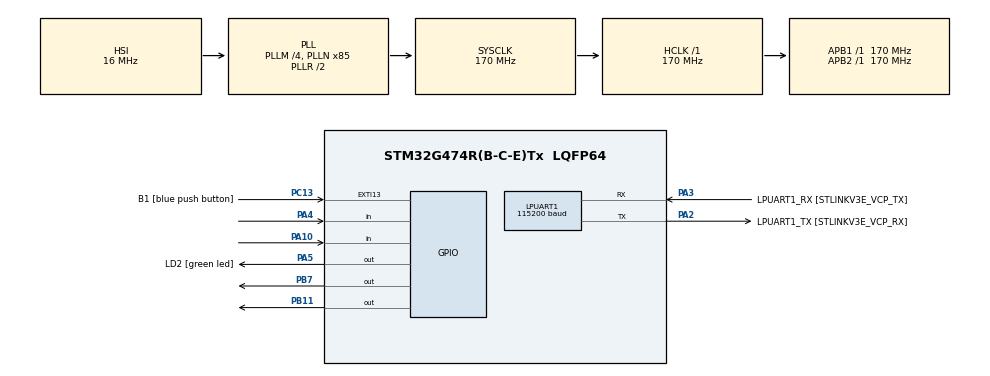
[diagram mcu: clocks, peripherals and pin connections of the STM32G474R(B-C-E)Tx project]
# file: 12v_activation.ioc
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LPUART1.BaudRate=115200
Mcu.Family=STM32G4
Mcu.Name=STM32G474R(B-C-E)Tx
Mcu.Package=LQFP64
NVIC.EXTI15_10_IRQn=true\:0\:0\:false\:false\:true\:true\:true\:true
NVIC.PriorityGroup=NVIC_PRIORITYGROUP_4
PA10.GPIO_PuPd=GPIO_PULLUP
PA10.Signal=GPIO_Input
PA13.GPIO_Label=T_SWDIO
PA13.Signal=SYS_JTMS-SWDIO
PA14.GPIO_Label=T_SWCLK
PA14.Signal=SYS_JTCK-SWCLK
PA2.GPIO_Label=LPUART1_TX [STLINKV3E_VCP_RX]
PA2.Mode=Asynchronous
PA2.Signal=LPUART1_TX
PA3.GPIO_Label=LPUART1_RX [STLINKV3E_VCP_TX]
PA3.Mode=Asynchronous
PA3.Signal=LPUART1_RX
PA4.GPIO_PuPd=GPIO_PULLDOWN
PA4.Signal=GPIO_Input
PA5.GPIO_Label=LD2 [green led]
PA5.Signal=GPIO_Output
PB11.Signal=GPIO_Output
PB3.GPIO_Label=T_SWO
PB3.Signal=SYS_JTDO-SWO
PB7.Signal=GPIO_Output
PC13.GPIO_Label=B1 [blue push button]
PC13.Signal=GPXTI13
PC14-OSC32_IN.Signal=RCC_OSC32_IN
PC15-OSC32_OUT.Signal=RCC_OSC32_OUT
PF0-OSC_IN.Signal=RCC_OSC_IN
PF1-OSC_OUT.Signal=RCC_OSC_OUT
ProjectManager.HeapSize=0x200
ProjectManager.StackSize=0x400
ProjectManager.TargetToolchain=STM32CubeIDE
RCC.ADC12Freq_Value=170000000
RCC.ADC345Freq_Value=170000000
RCC.AHBFreq_Value=170000000
RCC.APB1Freq_Value=170000000
RCC.APB1TimFreq_Value=170000000
RCC.APB2Freq_Value=170000000
RCC.APB2TimFreq_Value=170000000
RCC.CortexFreq_Value=170000000
RCC.EXTERNAL_CLOCK_VALUE=12288000
RCC.HCLKFreq_Value=170000000
RCC.HSE_VALUE=24000000
RCC.HSI48_VALUE=48000000
RCC.HSI_VALUE=16000000
RCC.LSE_VALUE=32768
RCC.PLLM=RCC_PLLM_DIV4
RCC.PLLN=85
RCC.RTCClockSelection=RCC_RTCCLKSOURCE_LSE
RCC.SYSCLKFreq_VALUE=170000000
RCC.SYSCLKSource=RCC_SYSCLKSOURCE_PLLCLK
RCC.USBFreq_Value=170000000
RCC.VCOOutputFreq_Value=340000000
VP_SYS_VS_DBSignals.Mode=DisableDeadBatterySignals
board=NUCLEO-G474RE

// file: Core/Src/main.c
/* USER CODE BEGIN Header */
/**
  ******************************************************************************
  * @file           : main.c
  * @brief          : Main program body
  ******************************************************************************
  * @attention
  *
  * Copyright (c) 2024 STMicroelectronics.
  * All rights reserved.
  *
  * This software is licensed under terms that can be found in the LICENSE file
  * in the root directory of this software component.
  * If no LICENSE file comes with this software, it is provided AS-IS.
  *
  ******************************************************************************
  */
/* USER CODE END Header */
#include "main.h"

/* USER CODE BEGIN PD */

// Pin aliases
#define twelve_v_switch GPIO_PIN_10
#define twelve_v_RED_LED GPIO_PIN_7
#define twelve_v_GREEN_LED GPIO_PIN_11
#define twelve_v_line GPIO_PIN_4

/* USER CODE END PD */

UART_HandleTypeDef hlpuart1;

void SystemClock_Config(void);
static void MX_GPIO_Init(void);
static void MX_LPUART1_UART_Init(void);

int main(void)
{

  /* MCU Configuration--------------------------------------------------------*/

  /* Reset of all peripherals, Initializes the Flash interface and the Systick. */
  HAL_Init();

  /* Configure the system clock */
  SystemClock_Config();

  /* Initialize all configured peripherals */
  MX_GPIO_Init();
  MX_LPUART1_UART_Init();
  /* USER CODE BEGIN 2 */

  char buff1[100];
  char buff2[100];
  char buff3[100];
  char buff4[100];

  sprintf(buff1,"12v Input Mode off!\n");
  sprintf(buff2,"12v Input Mode ON\n");
  sprintf(buff3,"12v signal detected....\n");
  sprintf(buff4,"No 12v signal detected\n");

  /* USER CODE END 2 */

  /* Infinite loop */
  while (1)
  {

    /* USER CODE BEGIN 3 */

	  if (HAL_GPIO_ReadPin(GPIOA, twelve_v_switch) == GPIO_PIN_RESET) // If PA10 (switch) is low
	  {
		  HAL_UART_Transmit(&hlpuart1, (uint8_t *)buff2, strlen(buff1), HAL_MAX_DELAY);
		  HAL_Delay(10);

		  if(HAL_GPIO_ReadPin(GPIOA, twelve_v_line) == GPIO_PIN_SET)
		  {
			  HAL_UART_Transmit(&hlpuart1, (uint8_t *)buff3, strlen(buff1), HAL_MAX_DELAY);
			  HAL_GPIO_WritePin(GPIOB, twelve_v_GREEN_LED, GPIO_PIN_SET); // Turn on green LED
			  HAL_GPIO_WritePin(GPIOB, twelve_v_RED_LED, GPIO_PIN_RESET); // Turn off red LED
		  }

		  else
		  {
			  HAL_UART_Transmit(&hlpuart1, (uint8_t *)buff4, strlen(buff1), HAL_MAX_DELAY);
			  HAL_GPIO_WritePin(GPIOB, twelve_v_GREEN_LED, GPIO_PIN_RESET); // Turn off green LED
			  HAL_GPIO_WritePin(GPIOB, twelve_v_RED_LED, GPIO_PIN_SET); // Turn on red LED
		  }

	  }

	  else // If PA10 is high
	  {
		  	  HAL_UART_Transmit(&hlpuart1, (uint8_t *)buff1, strlen(buff1), HAL_MAX_DELAY);
			  HAL_GPIO_WritePin(GPIOB, twelve_v_GREEN_LED, GPIO_PIN_RESET); // Turn off red LED
			  HAL_GPIO_WritePin(GPIOB, twelve_v_RED_LED, GPIO_PIN_RESET); // Turn off green LED
	          }

	          HAL_Delay(100); // Adjust delay as needed
	      }
  /* USER CODE END 3 */
}

void SystemClock_Config(void)
{
  RCC_OscInitTypeDef RCC_OscInitStruct = {0};
  RCC_ClkInitTypeDef RCC_ClkInitStruct = {0};

  /** Configure the main internal regulator output voltage
  */
  HAL_PWREx_ControlVoltageScaling(PWR_REGULATOR_VOLTAGE_SCALE1_BOOST);

  /** Initializes the RCC Oscillators according to the specified parameters
  * in the RCC_OscInitTypeDef structure.
  */
  RCC_OscInitStruct.OscillatorType = RCC_OSCILLATORTYPE_HSI;
  RCC_OscInitStruct.HSIState = RCC_HSI_ON;
  RCC_OscInitStruct.HSICalibrationValue = RCC_HSICALIBRATION_DEFAULT;
  RCC_OscInitStruct.PLL.PLLState = RCC_PLL_ON;
  RCC_OscInitStruct.PLL.PLLSource = RCC_PLLSOURCE_HSI;
  RCC_OscInitStruct.PLL.PLLM = RCC_PLLM_DIV4;
  RCC_OscInitStruct.PLL.PLLN = 85;
  RCC_OscInitStruct.PLL.PLLP = RCC_PLLP_DIV2;
  RCC_OscInitStruct.PLL.PLLQ = RCC_PLLQ_DIV2;
  RCC_OscInitStruct.PLL.PLLR = RCC_PLLR_DIV2;
  if (HAL_RCC_OscConfig(&RCC_OscInitStruct) != HAL_OK)
  {
    Error_Handler();
  }

  /** Initializes the CPU, AHB and APB buses clocks
  */
  RCC_ClkInitStruct.ClockType = RCC_CLOCKTYPE_HCLK|RCC_CLOCKTYPE_SYSCLK
                              |RCC_CLOCKTYPE_PCLK1|RCC_CLOCKTYPE_PCLK2;
  RCC_ClkInitStruct.SYSCLKSource = RCC_SYSCLKSOURCE_PLLCLK;
  RCC_ClkInitStruct.AHBCLKDivider = RCC_SYSCLK_DIV1;
  RCC_ClkInitStruct.APB1CLKDivider = RCC_HCLK_DIV1;
  RCC_ClkInitStruct.APB2CLKDivider = RCC_HCLK_DIV1;

  if (HAL_RCC_ClockConfig(&RCC_ClkInitStruct, FLASH_LATENCY_4) != HAL_OK)
  {
    Error_Handler();
  }
}

static void MX_LPUART1_UART_Init(void)
{

  hlpuart1.Instance = LPUART1;
  hlpuart1.Init.BaudRate = 115200;
  hlpuart1.Init.WordLength = UART_WORDLENGTH_8B;
  hlpuart1.Init.StopBits = UART_STOPBITS_1;
  hlpuart1.Init.Parity = UART_PARITY_NONE;
  hlpuart1.Init.Mode = UART_MODE_TX_RX;
  hlpuart1.Init.HwFlowCtl = UART_HWCONTROL_NONE;
  hlpuart1.Init.OneBitSampling = UART_ONE_BIT_SAMPLE_DISABLE;
  hlpuart1.Init.ClockPrescaler = UART_PRESCALER_DIV1;
  hlpuart1.AdvancedInit.AdvFeatureInit = UART_ADVFEATURE_NO_INIT;
  if (HAL_UART_Init(&hlpuart1) != HAL_OK)
  {
    Error_Handler();
  }
  if (HAL_UARTEx_SetTxFifoThreshold(&hlpuart1, UART_TXFIFO_THRESHOLD_1_8) != HAL_OK)
  {
    Error_Handler();
  }
  if (HAL_UARTE	x_SetRxFifoThreshold(&hlpuart1, UART_RXFIFO_THRESHOLD_1_8) != HAL_OK)
  {
    Error_Handler();
  }
  if (HAL_UARTEx_DisableFifoMode(&hlpuart1) != HAL_OK)
  {
    Error_Handler();
  }

}

static void MX_GPIO_Init(void)
{
  GPIO_InitTypeDef GPIO_InitStruct = {0};

  /* GPIO Ports Clock Enable */
  __HAL_RCC_GPIOC_CLK_ENABLE();
  __HAL_RCC_GPIOF_CLK_ENABLE();
  __HAL_RCC_GPIOA_CLK_ENABLE();
  __HAL_RCC_GPIOB_CLK_ENABLE();

  /*Configure GPIO pin Output Level */
  HAL_GPIO_WritePin(LD2_GPIO_Port, LD2_Pin, GPIO_PIN_RESET);

  /*Configure GPIO pin Output Level */
  HAL_GPIO_WritePin(GPIOB, GPIO_PIN_11|GPIO_PIN_7, GPIO_PIN_RESET);

  /*Configure GPIO pin : B1_Pin */
  GPIO_InitStruct.Pin = B1_Pin;
  GPIO_InitStruct.Mode = GPIO_MODE_IT_RISING;
  GPIO_InitStruct.Pull = GPIO_NOPULL;
  HAL_GPIO_Init(B1_GPIO_Port, &GPIO_InitStruct);

  /*Configure GPIO pin : PA4 */
  GPIO_InitStruct.Pin = GPIO_PIN_4;
  GPIO_InitStruct.Mode = GPIO_MODE_INPUT;
  GPIO_InitStruct.Pull = GPIO_PULLDOWN;
  HAL_GPIO_Init(GPIOA, &GPIO_InitStruct);

  /*Configure GPIO pin : LD2_Pin */
  GPIO_InitStruct.Pin = LD2_Pin;
  GPIO_InitStruct.Mode = GPIO_MODE_OUTPUT_PP;
  GPIO_InitStruct.Pull = GPIO_NOPULL;
  GPIO_InitStruct.Speed = GPIO_SPEED_FREQ_LOW;
  HAL_GPIO_Init(LD2_GPIO_Port, &GPIO_InitStruct);

  /*Configure GPIO pins : PB11 PB7 */
  GPIO_InitStruct.Pin = GPIO_PIN_11|GPIO_PIN_7;
  GPIO_InitStruct.Mode = GPIO_MODE_OUTPUT_PP;
  GPIO_InitStruct.Pull = GPIO_NOPULL;
  GPIO_InitStruct.Speed = GPIO_SPEED_FREQ_LOW;
  HAL_GPIO_Init(GPIOB, &GPIO_InitStruct);

  /*Configure GPIO pin : PA10 */
  GPIO_InitStruct.Pin = GPIO_PIN_10;
  GPIO_InitStruct.Mode = GPIO_MODE_INPUT;
  GPIO_InitStruct.Pull = GPIO_PULLUP;
  HAL_GPIO_Init(GPIOA, &GPIO_InitStruct);

  /* EXTI interrupt init*/
  HAL_NVIC_SetPriority(EXTI15_10_IRQn, 0, 0);
  HAL_NVIC_EnableIRQ(EXTI15_10_IRQn);

}

void Error_Handler(void)
{
  __disable_irq();
  while (1)
  {
  }
}
